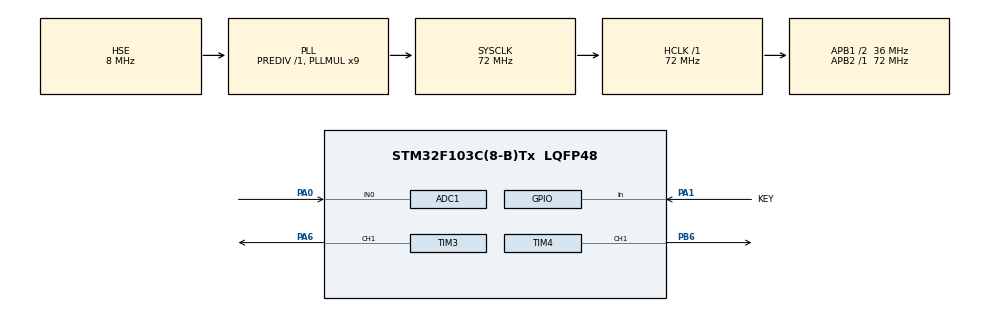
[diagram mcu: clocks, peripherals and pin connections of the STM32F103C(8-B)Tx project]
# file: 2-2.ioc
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ADC1.Channel-1\#ChannelRegularConversion=ADC_CHANNEL_0
ADC1.NbrOfConversion=1
ADC1.NbrOfConversionFlag=1
ADC1.Rank-1\#ChannelRegularConversion=1
ADC1.SamplingTime-1\#ChannelRegularConversion=ADC_SAMPLETIME_55CYCLES_5
ADC1.master=1
Mcu.Family=STM32F1
Mcu.Name=STM32F103C(8-B)Tx
Mcu.Package=LQFP48
NVIC.PriorityGroup=NVIC_PRIORITYGROUP_4
NVIC.TIM2_IRQn=true\:0\:0\:false\:false\:true\:true\:true\:true
PA0-WKUP.Signal=ADCx_IN0
PA1.GPIO_Label=KEY
PA1.GPIO_PuPd=GPIO_PULLUP
PA1.Signal=GPIO_Input
PA13.Mode=Serial_Wire
PA13.Signal=SYS_JTMS-SWDIO
PA14.Mode=Serial_Wire
PA14.Signal=SYS_JTCK-SWCLK
PA6.Signal=S_TIM3_CH1
PB6.Signal=S_TIM4_CH1
PD0-OSC_IN.Mode=HSE-External-Oscillator
PD0-OSC_IN.Signal=RCC_OSC_IN
PD1-OSC_OUT.Mode=HSE-External-Oscillator
PD1-OSC_OUT.Signal=RCC_OSC_OUT
ProjectManager.HeapSize=0x200
ProjectManager.StackSize=0x400
ProjectManager.TargetToolchain=MDK-ARM V5.32
RCC.ADCPresc=RCC_ADCPCLK2_DIV6
RCC.AHBFreq_Value=72000000
RCC.APB1CLKDivider=RCC_HCLK_DIV2
RCC.APB1Freq_Value=36000000
RCC.APB1TimFreq_Value=72000000
RCC.APB2Freq_Value=72000000
RCC.APB2TimFreq_Value=72000000
RCC.HCLKFreq_Value=72000000
RCC.PLLMUL=RCC_PLL_MUL9
RCC.PLLSourceVirtual=RCC_PLLSOURCE_HSE
RCC.SYSCLKFreq_VALUE=72000000
RCC.SYSCLKSource=RCC_SYSCLKSOURCE_PLLCLK
RCC.USBFreq_Value=72000000
SH.ADCx_IN0.0=ADC1_IN0,IN0
SH.S_TIM3_CH1.0=TIM3_CH1,PWM Generation1 CH1
SH.S_TIM4_CH1.0=TIM4_CH1,PWM Generation1 CH1
TIM2.Period=999
TIM2.Prescaler=71
TIM3.Channel-PWM\ Generation1\ CH1=TIM_CHANNEL_1
TIM3.Period=19999
TIM3.Prescaler=71
TIM3.Pulse-PWM\ Generation1\ CH1=1000
TIM4.Channel-PWM\ Generation1\ CH1=TIM_CHANNEL_1
TIM4.Period=999
TIM4.Prescaler=71
VP_TIM2_VS_ClockSourceINT.Mode=Internal
board=custom

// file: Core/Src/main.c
/* USER CODE BEGIN Header */
/**
  ******************************************************************************
  * @file           : main.c
  * @brief          : Main program body
  ******************************************************************************
  * @attention
  *
  * Copyright (c) 2026 STMicroelectronics.
  * All rights reserved.
  *
  * This software is licensed under terms that can be found in the LICENSE file
  * in the root directory of this software component.
  * If no LICENSE file comes with this software, it is provided AS-IS.
  *
  ******************************************************************************
  */
/* USER CODE END Header */
#include "main.h"
#include "adc.h"
#include "tim.h"
#include "gpio.h"

/* USER CODE BEGIN PV */
int  ccr_led = 0;
int  step    = 10;
int  angle   = 0;
int  dir     = 1;
uint32_t t_led = 0;
uint32_t t_srv = 0;
/* USER CODE END PV */

void SystemClock_Config(void);

int main(void)
{

  /* MCU Configuration--------------------------------------------------------*/

  /* Reset of all peripherals, Initializes the Flash interface and the Systick. */
  HAL_Init();

  /* Configure the system clock */
  SystemClock_Config();

  /* Initialize all configured peripherals */
  MX_GPIO_Init();
  MX_ADC1_Init();
  MX_TIM2_Init();
  MX_TIM3_Init();
  MX_TIM4_Init();
  /* USER CODE BEGIN 2 */
  HAL_TIM_PWM_Start(&htim4, TIM_CHANNEL_1);
  HAL_TIM_PWM_Start(&htim3, TIM_CHANNEL_1);
  __HAL_TIM_SET_COMPARE(&htim3, TIM_CHANNEL_1,2000);
  /* USER CODE END 2 */

  /* Infinite loop */
  while (1)
  {

    /* USER CODE BEGIN 3 */
    uint32_t now = HAL_GetTick();

    if(now-t_led>=10)
    {
      t_led=now;

      ccr_led=ccr_led+step;
      if(ccr_led>=1000||ccr_led<=0)
      {
        if(ccr_led>=1000)
        {
          ccr_led=1000;
					step=-10;
        }
        if(ccr_led<=0)
        {
          ccr_led=0;
					step= 10;
        }
      }
      __HAL_TIM_SET_COMPARE(&htim4, TIM_CHANNEL_1, ccr_led);
    }

    if(now-t_srv>=20)
    {
      t_srv=now;
      angle=angle+dir;
      if(angle>=180||angle<=0)
      {
        dir=-dir;
      }
      __HAL_TIM_SET_COMPARE(&htim3, TIM_CHANNEL_1, 500 + angle * 2000 / 180);
    }
  }
  /* USER CODE END 3 */
}

void SystemClock_Config(void)
{
  RCC_OscInitTypeDef RCC_OscInitStruct = {0};
  RCC_ClkInitTypeDef RCC_ClkInitStruct = {0};
  RCC_PeriphCLKInitTypeDef PeriphClkInit = {0};

  /** Initializes the RCC Oscillators according to the specified parameters
  * in the RCC_OscInitTypeDef structure.
  */
  RCC_OscInitStruct.OscillatorType = RCC_OSCILLATORTYPE_HSE;
  RCC_OscInitStruct.HSEState = RCC_HSE_ON;
  RCC_OscInitStruct.HSEPredivValue = RCC_HSE_PREDIV_DIV1;
  RCC_OscInitStruct.HSIState = RCC_HSI_ON;
  RCC_OscInitStruct.PLL.PLLState = RCC_PLL_ON;
  RCC_OscInitStruct.PLL.PLLSource = RCC_PLLSOURCE_HSE;
  RCC_OscInitStruct.PLL.PLLMUL = RCC_PLL_MUL9;
  if (HAL_RCC_OscConfig(&RCC_OscInitStruct) != HAL_OK)
  {
    Error_Handler();
  }

  /** Initializes the CPU, AHB and APB buses clocks
  */
  RCC_ClkInitStruct.ClockType = RCC_CLOCKTYPE_HCLK|RCC_CLOCKTYPE_SYSCLK
                              |RCC_CLOCKTYPE_PCLK1|RCC_CLOCKTYPE_PCLK2;
  RCC_ClkInitStruct.SYSCLKSource = RCC_SYSCLKSOURCE_PLLCLK;
  RCC_ClkInitStruct.AHBCLKDivider = RCC_SYSCLK_DIV1;
  RCC_ClkInitStruct.APB1CLKDivider = RCC_HCLK_DIV2;
  RCC_ClkInitStruct.APB2CLKDivider = RCC_HCLK_DIV1;

  if (HAL_RCC_ClockConfig(&RCC_ClkInitStruct, FLASH_LATENCY_2) != HAL_OK)
  {
    Error_Handler();
  }
  PeriphClkInit.PeriphClockSelection = RCC_PERIPHCLK_ADC;
  PeriphClkInit.AdcClockSelection = RCC_ADCPCLK2_DIV6;
  if (HAL_RCCEx_PeriphCLKConfig(&PeriphClkInit) != HAL_OK)
  {
    Error_Handler();
  }
}

void Error_Handler(void)
{
  __disable_irq();
  while (1)
  {
  }
}
